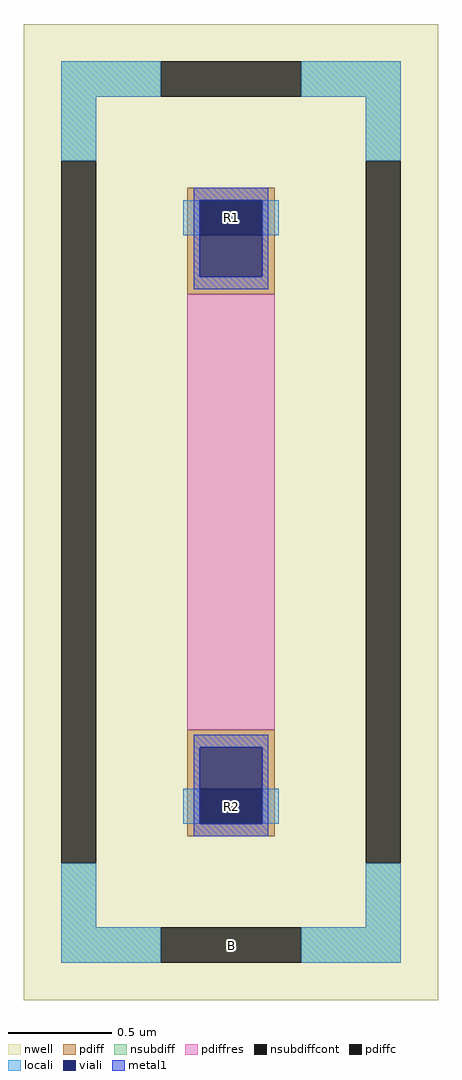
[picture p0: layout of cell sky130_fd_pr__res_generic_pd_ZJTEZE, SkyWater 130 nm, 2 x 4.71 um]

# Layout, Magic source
magic
tech sky130A
magscale 1 2
<< nwell >>
rect -200 -471 200 471
<< pdiff >>
rect -42 301 42 313
rect -42 267 -30 301
rect 30 267 42 301
rect -42 210 42 267
rect -42 -267 42 -210
rect -42 -301 -30 -267
rect 30 -301 42 -267
rect -42 -313 42 -301
<< pdiffc >>
rect -30 267 30 301
rect -30 -301 30 -267
<< nsubdiff >>
rect -164 401 -68 435
rect 68 401 164 435
rect -164 339 -130 401
rect 130 339 164 401
rect -164 -401 -130 -339
rect 130 -401 164 -339
rect -164 -435 -68 -401
rect 68 -435 164 -401
<< nsubdiffcont >>
rect -68 401 68 435
rect -164 -339 -130 339
rect 130 -339 164 339
rect -68 -435 68 -401
<< pdiffres >>
rect -42 -210 42 210
<< locali >>
rect -164 401 -68 435
rect 68 401 164 435
rect -164 339 -130 401
rect 130 339 164 401
rect -46 267 -30 301
rect 30 267 46 301
rect -46 -301 -30 -267
rect 30 -301 46 -267
rect -164 -401 -130 -339
rect 130 -401 164 -339
rect -164 -435 -68 -401
rect 68 -435 164 -401
<< viali >>
rect -30 267 30 301
rect -30 227 30 267
rect -30 -267 30 -227
rect -30 -301 30 -267
<< metal1 >>
rect -36 301 36 313
rect -36 227 -30 301
rect 30 227 36 301
rect -36 215 36 227
rect -36 -227 36 -215
rect -36 -301 -30 -227
rect 30 -301 36 -227
rect -36 -313 36 -301
<< labels >>
rlabel nsubdiffcont 0 -418 0 -418 0 B
port 1 nsew
rlabel pdiffc 0 284 0 284 0 R1
port 2 nsew
rlabel pdiffc 0 -284 0 -284 0 R2
port 3 nsew
<< properties >>
string FIXED_BBOX -147 -418 147 418
string gencell sky130_fd_pr__res_generic_pd
string library sky130
string parameters w 0.42 l 2.10 m 1 nx 1 wmin 0.42 lmin 2.10 class resistor rho 197 val 1.034k dummy 0 dw 0.02 term 0.0 sterm 0.0 caplen 0.60 snake 0 guard 1 glc 1 grc 1 gtc 1 gbc 1 roverlap 0 endcov 100 full_metal 1 vias 1 doports 1 viagb 0 viagt 0 viagl 0 viagr 0
<< end >>
